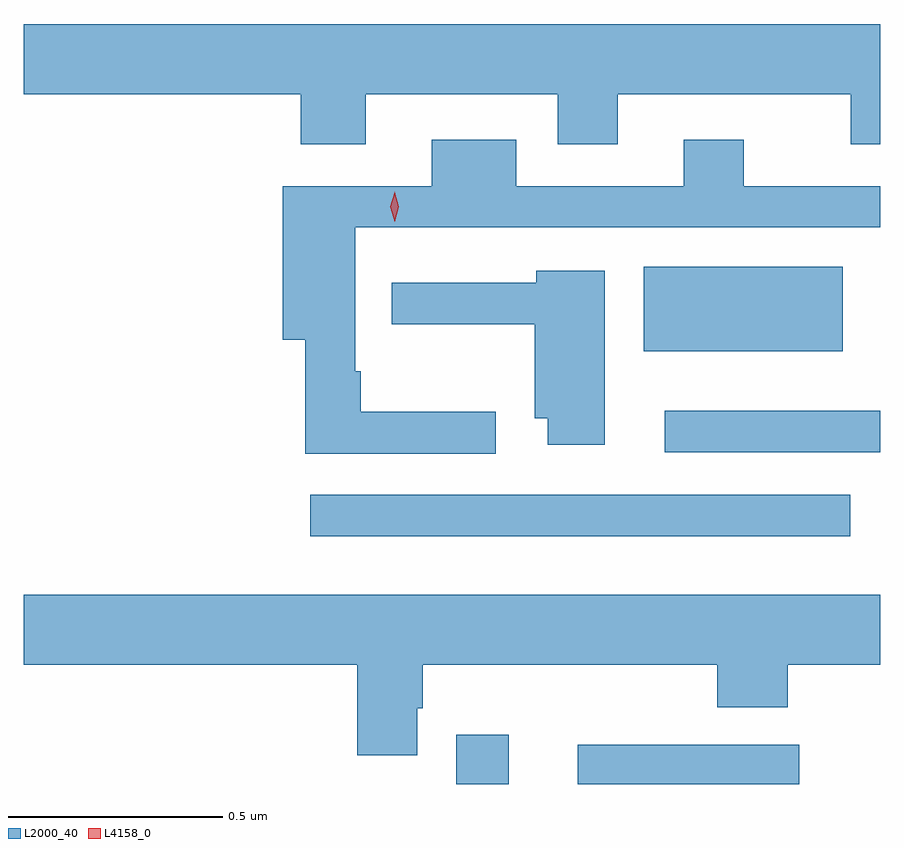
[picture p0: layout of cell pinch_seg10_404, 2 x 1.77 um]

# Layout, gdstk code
import gdstk
lib = gdstk.Library(unit=1e-6, precision=1e-09)
def R(c, l, rs):  # rectangles x0, y0, x1, y1
    for r in rs: c.add(gdstk.rectangle(r[:2], r[2:], *l))
def P(c, l, *ps):  # polygons
    for p in ps: c.add(gdstk.Polygon(p, *l))
L2000_40 = (2000, 40)
L4158_0 = (4158, 0)

pinch_seg10_404 = lib.new_cell('pinch_seg10_404')
R(pinch_seg10_404, L2000_40, [(587.162,1284.054,587.284,1284.169), (587.445,1284.054,587.963,1284.146), (586.821,1284.632,588.082,1284.729), (587.649,1284.828,588.152,1284.925), (587.6,1285.064,588.064,1285.261)])
P(pinch_seg10_404, L2000_40, [(586.951,1285.664),(587.399,1285.664),(587.399,1285.547),(587.539,1285.547),(587.539,1285.664),(588.083,1285.664),(588.083,1285.547),(588.152,1285.547),(588.152,1285.828),(586.152,1285.828),(586.152,1285.664),(586.799,1285.664),(586.799,1285.547),(586.951,1285.547)],
  [(587.254,1284.923),(586.939,1284.923),(586.939,1285.018),(586.926,1285.018),(586.926,1285.353),(588.152,1285.353),(588.152,1285.449),(587.833,1285.449),(587.833,1285.558),(587.693,1285.558),(587.693,1285.449),(587.302,1285.449),(587.302,1285.558),(587.105,1285.558),(587.105,1285.449),(586.757,1285.449),(586.757,1285.091),(586.81,1285.091),(586.81,1284.825),(587.254,1284.825)],
  [(587.509,1285.252),(587.349,1285.252),(587.349,1285.224),(587.011,1285.224),(587.011,1285.127),(587.345,1285.127),(587.345,1284.908),(587.375,1284.908),(587.375,1284.846),(587.509,1284.846)],
  [(587.071,1284.231),(587.084,1284.231),(587.084,1284.332),(587.771,1284.332),(587.771,1284.233),(587.936,1284.233),(587.936,1284.332),(588.152,1284.332),(588.152,1284.496),(586.152,1284.496),(586.152,1284.332),(586.931,1284.332),(586.931,1284.121),(587.071,1284.121)])
P(pinch_seg10_404, L4158_0, [(587.018,1285.366),(587.018,1285.366),(587.008,1285.401),(587.018,1285.435),(587.018,1285.436),(587.018,1285.435),(587.028,1285.401),(587.018,1285.366)])

lib.write_gds('pinch_seg10_404.gds')
